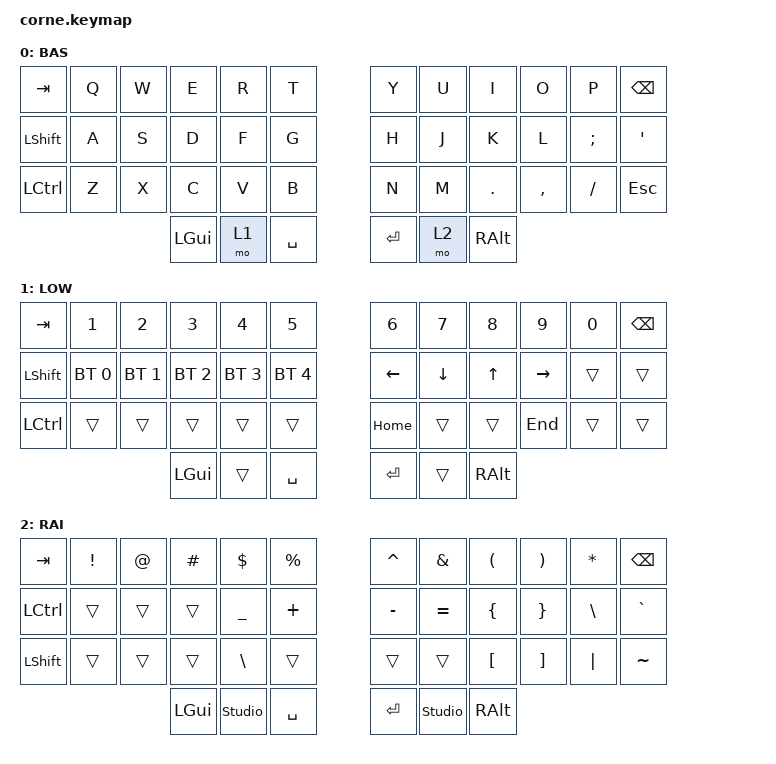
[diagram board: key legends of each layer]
/*
 * Copyright (c) 2020 The ZMK Contributors
 *
 * SPDX-License-Identifier: MIT
 */

#include <dt-bindings/led/led.h>
#include <dt-bindings/zmk/reset.h>
#include <behaviors.dtsi>
#include <dt-bindings/zmk/bt.h>
#include <dt-bindings/zmk/keys.h>

&led_strip { chain-length = <27>; };

/ {
    keymap {
        compatible = "zmk,keymap";

        default_layer {
            display-name = "BAS";

            // -----------------------------------------------------------------------------------------
            // |  TAB |  Q  |  W  |  E  |  R  |  T  |   |  Y  |  U   |  I  |  O  |  P  | BKSP |
            // | CTRL |  A  |  S  |  D  |  F  |  G  |   |  H  |  J   |  K  |  L  |  ;  |  '   |
            // | SHFT |  Z  |  X  |  C  |  V  |  B  |   |  N  |  M   |  ,  |  .  |  /  | ESC  |
            //                    | GUI | LWR | SPC |   | ENT | RSE  | ALT |

            bindings = <
&kp TAB         &kp Q  &kp W  &kp E     &kp R  &kp T        &kp Y    &kp U  &kp I          &kp O      &kp P     &kp BSPC
&kp LEFT_SHIFT  &kp A  &kp S  &kp D     &kp F  &kp G        &kp H    &kp J  &kp K          &kp L      &kp SEMI  &kp SQT
&kp LCTRL       &kp Z  &kp X  &kp C     &kp V  &kp B        &kp N    &kp M  &kp PERIOD     &kp COMMA  &kp FSLH  &kp ESC
                              &kp LGUI  &mo 1  &kp SPACE    &kp RET  &mo 2  &kp RIGHT_ALT
            >;
        };

        lower_layer {
            display-name = "LOW";

            // -----------------------------------------------------------------------------------------
            // |  TAB |  1  |  2  |  3  |  4  |  5  |   |  6  |  7  |  8  |  9  |  0  | BKSP |
            // | BTCLR| BT1 | BT2 | BT3 | BT4 | BT5 |   | LFT | DWN |  UP | RGT |     |      |
            // | SHFT |     |     |     |     |     |   |     |     |     |     |     |      |
            //                    | GUI |     | SPC |   | ENT |     | ALT |

            bindings = <
&kp TAB         &kp N1        &kp N2        &kp N3        &kp N4        &kp N5          &kp N6    &kp N7    &kp N8    &kp N9     &kp N0  &kp BSPC
&kp LEFT_SHIFT  &bt BT_SEL 0  &bt BT_SEL 1  &bt BT_SEL 2  &bt BT_SEL 3  &bt BT_SEL 4    &kp LEFT  &kp DOWN  &kp UP    &kp RIGHT  &trans  &trans
&kp LCTRL       &trans        &trans        &trans        &trans        &trans          &kp HOME  &trans    &trans    &kp END    &trans  &trans
                                            &kp LGUI      &trans        &kp SPACE       &kp RET   &trans    &kp RALT
            >;
        };

        raise_layer {
            display-name = "RAI";

            // -----------------------------------------------------------------------------------------
            // |  TAB |  !  |  @  |  #  |  $  |  %  |   |  ^  |  &  |  *  |  (  |  )  | BKSP |
            // | CTRL |     |     |     |     |     |   |  -  |  =  |  [  |  ]  |  \  |  `   |
            // | SHFT |     |     |     |     |     |   |  _  |  +  |  {  |  }  | "|" |  ~   |
            //                    | GUI |     | SPC |   | ENT |     | ALT |

            bindings = <
&kp TAB    &kp EXCL  &kp AT  &kp HASH  &kp DLLR        &kp PRCNT    &kp CARET  &kp AMPS        &kp LEFT_PARENTHESIS  &kp RIGHT_PARENTHESIS  &kp STAR  &kp BSPC
&kp LCTRL  &trans    &trans  &trans    &kp UNDER       &kp PLUS     &kp MINUS  &kp EQUAL       &kp LEFT_BRACE        &kp RIGHT_BRACE        &kp BSLH  &kp GRAVE
&kp LSHFT  &trans    &trans  &trans    &kp BACKSLASH   &trans       &trans     &trans          &kp LEFT_BRACKET      &kp RIGHT_BRACKET      &kp PIPE  &kp TILDE
                             &kp LGUI  &studio_unlock  &kp SPACE    &kp RET    &studio_unlock  &kp RALT
            >;
        };
    };
};
